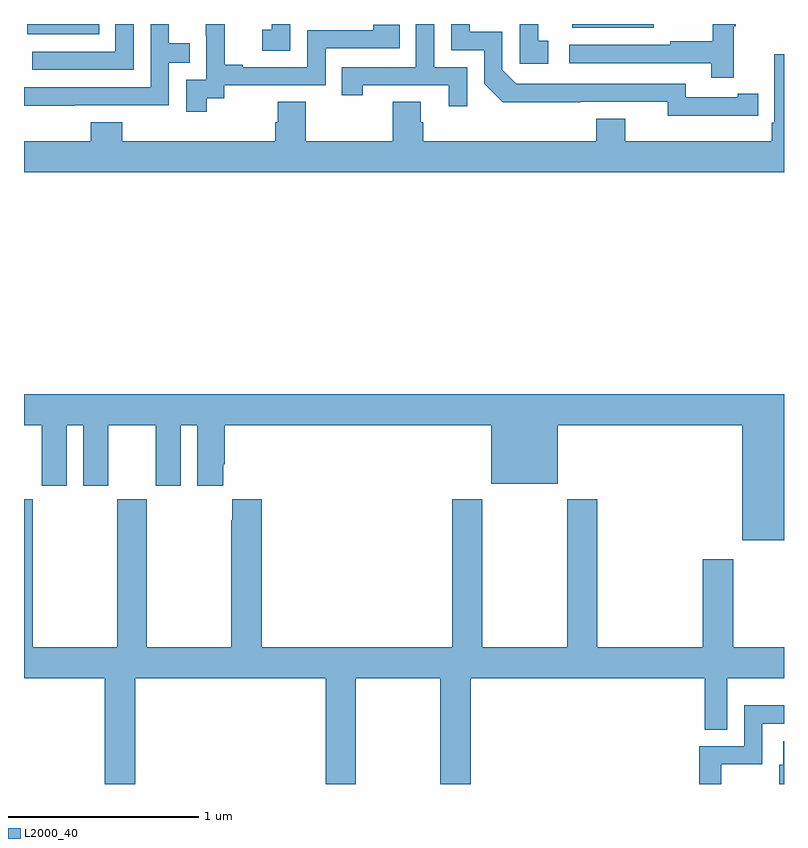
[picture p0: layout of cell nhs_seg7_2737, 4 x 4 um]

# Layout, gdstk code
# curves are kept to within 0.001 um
import gdstk
lib = gdstk.Library(unit=1e-6, precision=1e-09)
def R(c, l, rs):  # rectangles x0, y0, x1, y1
    for r in rs: c.add(gdstk.rectangle(r[:2], r[2:], *l))
def P(c, l, *ps):  # polygons
    for p in ps: c.add(gdstk.Polygon(p, *l))
L2000_40 = (2000, 40)

nhs_seg7_2737 = lib.new_cell('nhs_seg7_2737')
R(nhs_seg7_2737, L2000_40, [(287.018,1063.946,287.396,1064), (289.886,1063.979,290.314,1064)])
P(nhs_seg7_2737, L2000_40, [(287.577,1064),(287.481,1064),(287.481,1063.854),(287.043,1063.854),(287.043,1063.758),(287.577,1063.758)],
  [(287.962,1063.609),(288.054,1063.609),(288.054,1063.677),(288.588,1063.677),(288.588,1063.872),(288.977,1063.872),(288.977,1063.995),(288.837,1063.995),(288.837,1063.968),(288.492,1063.968),(288.492,1063.773),(288.151,1063.773),(288.151,1063.786),(288.056,1063.786),(288.056,1064),(287.957,1064),(287.957,1063.937),(287.958,1063.937),(287.958,1063.707),(287.853,1063.707),(287.853,1063.539),(287.962,1063.539)],
  [(289.332,1063.773),(289.158,1063.773),(289.158,1064),(289.062,1064),(289.062,1063.773),(288.673,1063.773),(288.673,1063.626),(288.784,1063.626),(288.784,1063.677),(289.235,1063.677),(289.235,1063.566),(289.332,1063.566)],
  [(290.735,1063.987),(290.746,1063.987),(290.746,1064),(290.625,1064),(290.625,1063.91),(290.401,1063.91),(290.401,1063.89),(289.869,1063.89),(289.869,1063.794),(290.617,1063.794),(290.617,1063.716),(290.735,1063.716)],
  [(290.756,1063.518),(290.864,1063.518),(290.864,1063.634),(290.756,1063.634),(290.756,1063.614),(290.484,1063.614),(290.484,1063.686),(289.59,1063.686),(289.518,1063.758),(289.518,1063.959),(289.345,1063.959),(289.345,1064),(289.248,1064),(289.248,1063.863),(289.422,1063.863),(289.422,1063.686),(289.52,1063.589),(290.388,1063.59),(290.388,1063.517)],
  [(287.267,1063.572),(287.763,1063.572),(287.763,1063.797),(287.873,1063.797),(287.873,1063.898),(287.763,1063.898),(287.763,1064),(287.667,1064),(287.667,1063.668),(287,1063.668),(287,1063.571),(287.267,1063.571)],
  [(289.759,1063.911),(289.706,1063.911),(289.706,1064),(289.608,1064),(289.608,1063.791),(289.759,1063.791)],
  [(288.402,1064),(288.304,1064),(288.304,1063.969),(288.255,1063.969),(288.255,1063.86),(288.402,1063.86)],
  [(291,1063.84),(290.949,1063.84),(290.949,1063.48),(290.936,1063.48),(290.936,1063.384),(290.164,1063.384),(290.164,1063.501),(290.012,1063.501),(290.012,1063.384),(289.1,1063.384),(289.1,1063.482),(289.087,1063.482),(289.087,1063.592),(288.94,1063.592),(288.94,1063.384),(288.483,1063.384),(288.483,1063.592),(288.335,1063.592),(288.335,1063.482),(288.323,1063.482),(288.323,1063.384),(287.516,1063.384),(287.516,1063.483),(287.351,1063.483),(287.351,1063.384),(287,1063.384),(287,1063.22),(291,1063.22)],
  [(291,1062.052),(287,1062.052),(287,1061.888),(287.093,1061.888),(287.093,1061.571),(287.224,1061.571),(287.224,1061.888),(287.312,1061.888),(287.312,1061.571),(287.443,1061.571),(287.443,1061.888),(287.693,1061.888),(287.693,1061.571),(287.824,1061.571),(287.824,1061.888),(287.912,1061.888),(287.912,1061.571),(288.049,1061.571),(288.049,1061.683),(288.056,1061.683),(288.056,1061.888),(289.46,1061.888),(289.46,1061.579),(289.81,1061.579),(289.81,1061.888),(290.78,1061.888),(290.78,1061.282),(291,1061.282)],
  [(287.585,1060.556),(288.587,1060.556),(288.587,1060),(288.747,1060),(288.747,1060.556),(289.192,1060.556),(289.192,1060),(289.352,1060),(289.352,1060.556),(290.583,1060.556),(290.583,1060.285),(290.701,1060.285),(290.701,1060.556),(291,1060.556),(291,1060.72),(290.733,1060.72),(290.733,1061.182),(290.573,1061.182),(290.573,1060.72),(290.018,1060.72),(290.018,1061.5),(289.858,1061.5),(289.858,1060.72),(289.413,1060.72),(289.413,1061.5),(289.253,1061.5),(289.253,1060.72),(288.251,1060.72),(288.251,1061.5),(288.095,1061.5),(288.095,1061.387),(288.091,1061.387),(288.091,1060.72),(287.646,1060.72),(287.646,1061.5),(287.491,1061.5),(287.491,1060.72),(287.046,1060.72),(287.046,1061.5),(287,1061.5),(287,1060.556),(287.425,1060.556),(287.425,1060),(287.585,1060)],
  [(290.671,1060.104),(290.886,1060.104),(290.886,1060.317),(291,1060.317),(291,1060.414),(290.79,1060.414),(290.79,1060.2),(290.553,1060.2),(290.553,1060),(290.671,1060)],
  [(291,1060.225),(290.996,1060.225),(290.996,1060.101),(290.975,1060.101),(290.975,1060),(291,1060)])

lib.write_gds('nhs_seg7_2737.gds')
